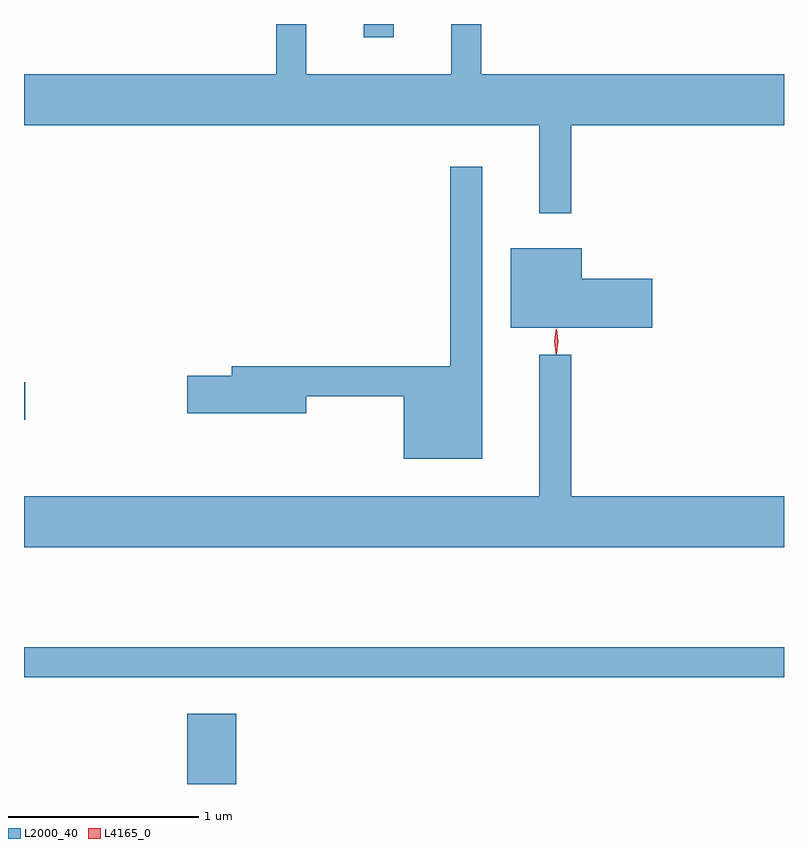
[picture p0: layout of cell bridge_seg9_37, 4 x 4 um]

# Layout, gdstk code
import gdstk
lib = gdstk.Library(unit=1e-6, precision=1e-09)
def R(c, l, rs):  # rectangles x0, y0, x1, y1
    for r in rs: c.add(gdstk.rectangle(r[:2], r[2:], *l))
def P(c, l, *ps):  # polygons
    for p in ps: c.add(gdstk.Polygon(p, *l))
L2000_40 = (2000, 40)
L4165_0 = (4165, 0)

bridge_seg9_37 = lib.new_cell('bridge_seg9_37')
R(bridge_seg9_37, L2000_40, [(1627.926,2068.269,1628.184,2068.639), (1627.068,2068.831,1631.068,2068.989), (1627.068,2070.186,1627.074,2070.384), (1628.856,2072.198,1629.014,2072.269)])
P(bridge_seg9_37, L2000_40, [(1629.949,2071.736),(1631.068,2071.736),(1631.068,2072.004),(1629.474,2072.004),(1629.474,2072.269),(1629.316,2072.269),(1629.316,2072.004),(1628.554,2072.004),(1628.554,2072.269),(1628.396,2072.269),(1628.396,2072.004),(1627.068,2072.004),(1627.068,2071.736),(1629.781,2071.736),(1629.781,2071.273),(1629.949,2071.273)],
  [(1629.479,2071.518),(1629.311,2071.518),(1629.311,2070.469),(1628.161,2070.469),(1628.161,2070.419),(1627.926,2070.419),(1627.926,2070.221),(1628.554,2070.221),(1628.554,2070.311),(1629.066,2070.311),(1629.066,2069.981),(1629.479,2069.981)],
  [(1630.374,2070.929),(1630.004,2070.929),(1630.004,2071.089),(1629.631,2071.089),(1629.631,2070.671),(1630.374,2070.671)],
  [(1631.068,2069.784),(1629.949,2069.784),(1629.949,2070.528),(1629.781,2070.528),(1629.781,2069.784),(1627.068,2069.784),(1627.068,2069.516),(1631.068,2069.516)])
P(bridge_seg9_37, L4165_0, [(1629.867,2070.533),(1629.858,2070.596),(1629.867,2070.66),(1629.868,2070.66),(1629.868,2070.66),(1629.878,2070.596),(1629.868,2070.533),(1629.868,2070.533)],
  [(1629.87,2070.53),(1629.87,2070.53),(1629.861,2070.598),(1629.871,2070.665),(1629.872,2070.666),(1629.872,2070.665),(1629.881,2070.598),(1629.871,2070.53)])

lib.write_gds('bridge_seg9_37.gds')
